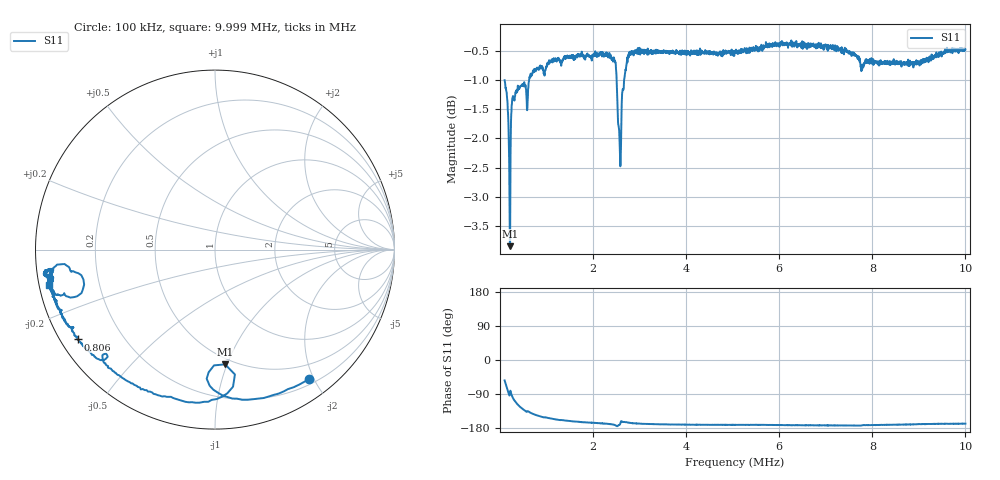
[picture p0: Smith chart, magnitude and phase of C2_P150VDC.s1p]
# HZ S RI R 50
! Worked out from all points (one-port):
!   2020 points, 100 kHz to 9.999 MHz, reference 50 ohm
!   lowest |S11| = -3.9 dB at 217.7 kHz (marker M1), VSWR 4.59, Z = 22.6 - j49.2 ohm
!   |S11| at or under -10 dB: nowhere
!   S11 on the Smith chart (normalised r, x): 100 kHz: 0.28, -1.94; 806 kHz: 0.05, -0.30; 9.999 MHz: 0.03, -0.10
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100000  0.5261 -0.7194
129418  0.3551 -0.8021
163739  0.1528 -0.8369
217672  0.0564 -0.6395
266702  -0.1065 -0.8532
296120  -0.2093 -0.8348
369665  -0.3816 -0.7826
453016  -0.5153 -0.7156
551076  -0.6213 -0.6255
806032  -0.7622 -0.5003
933510  -0.7967 -0.4403
1340459  -0.8611 -0.3379
2281835  -0.9199 -0.1991
2438731  -0.9201 -0.1513
2477955  -0.9141 -0.1274
2526985  -0.8383 -0.0803
2576015  -0.7617 -0.1315
2649560  -0.8395 -0.2438
2728008  -0.8919 -0.2477
2811359  -0.9144 -0.224
3183987  -0.9255 -0.181
3816474  -0.9304 -0.1559
5052030  -0.9293 -0.1426
6287586  -0.9485 -0.1305
7528045  -0.9329 -0.1189
7792807  -0.9066 -0.1281
8763601  -0.9069 -0.1565
9999157  -0.9267 -0.1957
